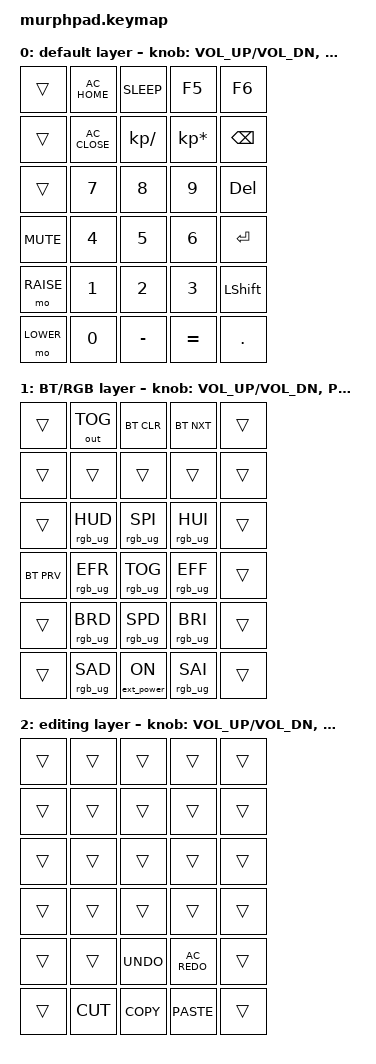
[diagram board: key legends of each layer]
/*
 * Copyright (c) 2021 Kyle McCreery
 *
 * SPDX-License-Identifier: MIT
 */

#include <behaviors.dtsi>
#include <dt-bindings/zmk/keys.h>
#include <dt-bindings/zmk/bt.h>
#include <dt-bindings/zmk/outputs.h>
#include <dt-bindings/zmk/rgb.h>

#define TIMEOUT 300

/* Layer Names*/
#define DEFAULT 0
#define RAISE   1
#define LOWER   2


&encoder_1 {
    status = "okay";
};

&encoder_2 {
    status = "okay";
};

/* Combo Definitions*/
/ {
    combos {
        compatible = "zmk,combos";
        combo_btclr {
            timeout-ms = <TIMEOUT>;
            key-positions = <1 6>;
            bindings = <&bt BT_CLR>;
        };
        combo_reset {
            timeout-ms = <TIMEOUT>;
            key-positions = <1 3>;
            bindings = <&sys_reset>;
        };
        combo_bootloader {
            timeout-ms = <TIMEOUT>;
            key-positions = <1 2>;
            bindings = <&bootloader>;
        };
        combo_bt_nxt {
            timeout-ms = <TIMEOUT>;
            key-positions = <1 4>;
            bindings = <&bt BT_NXT>;
        };
    };

    sensors {
        compatible = "zmk,keymap-sensors";
        sensors = <&encoder_1 &encoder_2>;
    };


    keymap0: keymap {
        compatible = "zmk,keymap";

        default_layer {
        label = "default layer";
            bindings = <
                &trans      &kp C_AC_HOME    &kp C_SLEEP     &kp F5            &kp F6
                &trans      &kp C_AC_CLOSE   &kp KP_DIVIDE   &kp KP_MULTIPLY   &kp BSPC
                &trans      &kp NUMBER_7     &kp NUMBER_8    &kp NUMBER_9      &kp DEL
                &kp C_MUTE  &kp NUMBER_4     &kp NUMBER_5    &kp NUMBER_6      &kp ENTER
                &mo RAISE   &kp NUMBER_1     &kp NUMBER_2    &kp NUMBER_3      &kp LEFT_SHIFT
                &mo LOWER   &kp NUMBER_0     &kp MINUS       &kp EQUAL         &kp PERIOD
            >;
            sensor-bindings = <&inc_dec_kp C_VOL_UP C_VOL_DN &inc_dec_kp PG_UP PG_DN>;

        };

        raise_layer {
        label = "BT/RGB layer";
            bindings = <
                &trans      &out OUT_TOG     &bt BT_CLR       &bt BT_NXT       &trans
                &trans      &trans           &trans           &trans           &trans
                &trans      &rgb_ug RGB_HUD  &rgb_ug RGB_SPI  &rgb_ug RGB_HUI  &trans
                &bt BT_PRV  &rgb_ug RGB_EFR  &rgb_ug RGB_TOG  &rgb_ug RGB_EFF  &trans
                &trans      &rgb_ug RGB_BRD  &rgb_ug RGB_SPD  &rgb_ug RGB_BRI  &trans
                &trans      &rgb_ug RGB_SAD  &ext_power EP_ON &rgb_ug RGB_SAI  &trans
            >;
            sensor-bindings = <&inc_dec_kp C_VOL_UP C_VOL_DN &inc_dec_kp PG_UP PG_DN>;

        };

        lower_layer {
        label = "editing layer";
            bindings = <
                &trans      &trans           &trans           &trans           &trans
                &trans      &trans           &trans           &trans           &trans
                &trans      &trans           &trans           &trans           &trans
                &trans      &trans           &trans           &trans           &trans
                &trans      &trans           &kp K_UNDO       &kp C_AC_REDO    &trans
                &trans      &kp K_CUT        &kp K_COPY       &kp K_PASTE      &trans
            >;
            sensor-bindings = <&inc_dec_kp C_VOL_UP C_VOL_DN &inc_dec_kp PG_UP PG_DN>;

        };
    };
};
